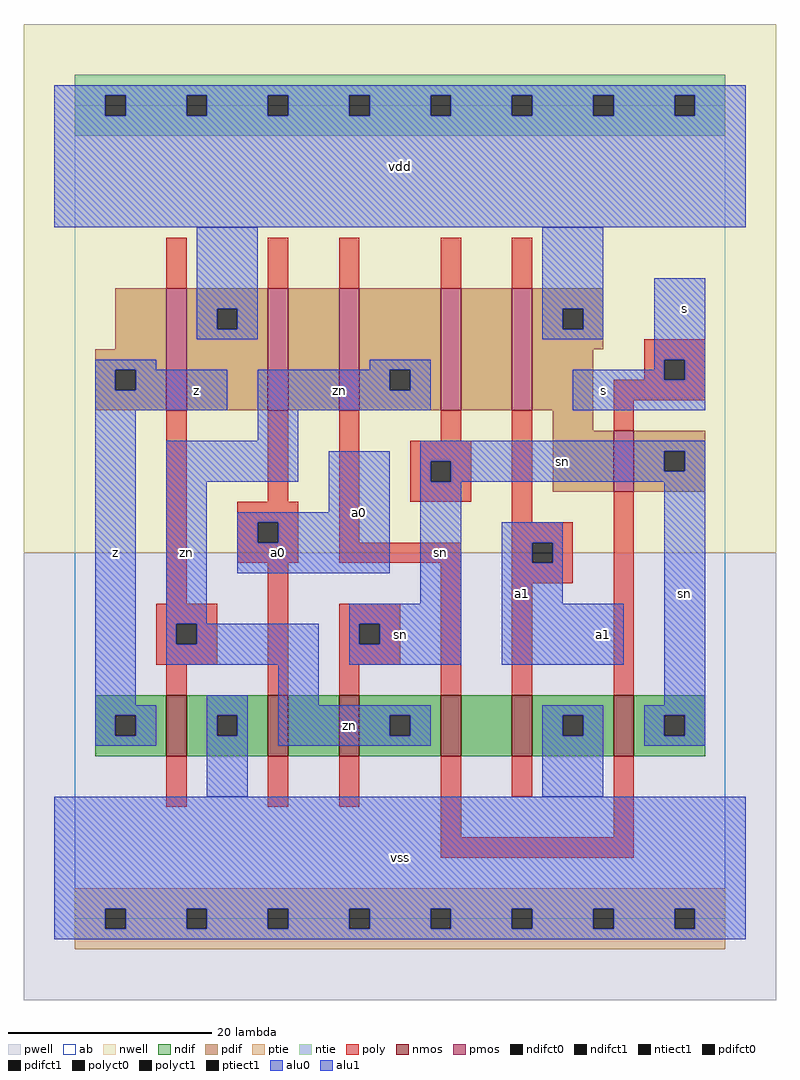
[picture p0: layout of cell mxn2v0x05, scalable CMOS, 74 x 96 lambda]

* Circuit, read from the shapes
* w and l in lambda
.subckt mxn2v0x05 a0 a1 s sn vdd vss z zn
M1 vss zn z vss nfet w=6 l=2
M2 n1 a0 vss vss nfet w=6 l=2
M3 zn sn n1 vss nfet w=6 l=2
M4 n2 s zn vss nfet w=6 l=2
M5 vss a1 n2 vss nfet w=6 l=2
M6 sn s vss vss nfet w=6 l=2
M7 vdd zn z vdd pfet w=12 l=2
M8 n3 a0 vdd vdd pfet w=12 l=2
M9 zn s n3 vdd pfet w=12 l=2
M10 n4 sn zn vdd pfet w=12 l=2
M11 vdd a1 n4 vdd pfet w=12 l=2
M12 sn s vdd vdd pfet w=6 l=2
.ends

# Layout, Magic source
magic
tech scmos
<< ab >>
rect 0 0 64 80
<< nwell >>
rect -5 36 69 88
<< pwell >>
rect -5 -8 69 36
<< poly >>
rect 9 62 11 67
rect 19 62 21 67
rect 26 62 28 67
rect 36 62 38 67
rect 43 62 45 67
rect 56 55 62 57
rect 56 53 58 55
rect 60 53 62 55
rect 9 31 11 50
rect 19 41 21 50
rect 16 39 22 41
rect 16 37 18 39
rect 20 37 22 39
rect 16 35 22 37
rect 26 37 28 50
rect 36 47 38 50
rect 33 45 39 47
rect 33 43 35 45
rect 37 43 39 45
rect 33 41 39 43
rect 43 39 45 50
rect 53 51 62 53
rect 53 48 55 51
rect 43 37 49 39
rect 26 35 38 37
rect 8 29 14 31
rect 8 27 10 29
rect 12 27 14 29
rect 8 25 14 27
rect 9 22 11 25
rect 19 22 21 35
rect 26 29 32 31
rect 26 27 28 29
rect 30 27 32 29
rect 26 25 32 27
rect 26 22 28 25
rect 36 22 38 35
rect 43 35 45 37
rect 47 35 49 37
rect 43 33 49 35
rect 43 22 45 33
rect 53 22 55 42
rect 9 11 11 16
rect 19 11 21 16
rect 26 11 28 16
rect 36 8 38 16
rect 43 12 45 16
rect 53 8 55 16
rect 36 6 55 8
<< ndif >>
rect 2 20 9 22
rect 2 18 4 20
rect 6 18 9 20
rect 2 16 9 18
rect 11 20 19 22
rect 11 18 14 20
rect 16 18 19 20
rect 11 16 19 18
rect 21 16 26 22
rect 28 20 36 22
rect 28 18 31 20
rect 33 18 36 20
rect 28 16 36 18
rect 38 16 43 22
rect 45 20 53 22
rect 45 18 48 20
rect 50 18 53 20
rect 45 16 53 18
rect 55 20 62 22
rect 55 18 58 20
rect 60 18 62 20
rect 55 16 62 18
<< pdif >>
rect 4 56 9 62
rect 2 54 9 56
rect 2 52 4 54
rect 6 52 9 54
rect 2 50 9 52
rect 11 60 19 62
rect 11 58 14 60
rect 16 58 19 60
rect 11 50 19 58
rect 21 50 26 62
rect 28 54 36 62
rect 28 52 31 54
rect 33 52 36 54
rect 28 50 36 52
rect 38 50 43 62
rect 45 60 52 62
rect 45 58 48 60
rect 50 58 52 60
rect 45 56 52 58
rect 45 50 51 56
rect 47 48 51 50
rect 47 42 53 48
rect 55 46 62 48
rect 55 44 58 46
rect 60 44 62 46
rect 55 42 62 44
<< alu1 >>
rect -2 81 66 82
rect -2 79 3 81
rect 5 79 11 81
rect 13 79 19 81
rect 21 79 27 81
rect 29 79 35 81
rect 37 79 43 81
rect 45 79 51 81
rect 53 79 59 81
rect 61 79 66 81
rect -2 68 66 79
rect 57 55 62 63
rect 2 54 8 55
rect 57 54 58 55
rect 2 52 4 54
rect 6 52 15 54
rect 2 50 15 52
rect 49 53 58 54
rect 60 53 62 55
rect 49 50 62 53
rect 2 21 6 50
rect 25 40 31 46
rect 16 39 31 40
rect 16 37 18 39
rect 20 37 31 39
rect 16 34 31 37
rect 42 37 48 39
rect 42 35 45 37
rect 47 35 48 37
rect 42 31 48 35
rect 42 25 54 31
rect 2 20 8 21
rect 2 18 4 20
rect 6 18 8 20
rect 2 17 8 18
rect -2 1 66 12
rect -2 -1 3 1
rect 5 -1 11 1
rect 13 -1 19 1
rect 21 -1 27 1
rect 29 -1 35 1
rect 37 -1 43 1
rect 45 -1 51 1
rect 53 -1 59 1
rect 61 -1 66 1
rect -2 -2 66 -1
<< ptie >>
rect 0 1 64 3
rect 0 -1 3 1
rect 5 -1 11 1
rect 13 -1 19 1
rect 21 -1 27 1
rect 29 -1 35 1
rect 37 -1 43 1
rect 45 -1 51 1
rect 53 -1 59 1
rect 61 -1 64 1
rect 0 -3 64 -1
<< ntie >>
rect 0 81 64 83
rect 0 79 3 81
rect 5 79 11 81
rect 13 79 19 81
rect 21 79 27 81
rect 29 79 35 81
rect 37 79 43 81
rect 45 79 51 81
rect 53 79 59 81
rect 61 79 64 81
rect 0 77 64 79
<< nmos >>
rect 9 16 11 22
rect 19 16 21 22
rect 26 16 28 22
rect 36 16 38 22
rect 43 16 45 22
rect 53 16 55 22
<< pmos >>
rect 9 50 11 62
rect 19 50 21 62
rect 26 50 28 62
rect 36 50 38 62
rect 43 50 45 62
rect 53 42 55 48
<< polyct0 >>
rect 35 43 37 45
rect 10 27 12 29
rect 28 27 30 29
<< polyct1 >>
rect 58 53 60 55
rect 18 37 20 39
rect 45 35 47 37
<< ndifct0 >>
rect 14 18 16 20
rect 31 18 33 20
rect 48 18 50 20
rect 58 18 60 20
<< ndifct1 >>
rect 4 18 6 20
<< ntiect1 >>
rect 3 79 5 81
rect 11 79 13 81
rect 19 79 21 81
rect 27 79 29 81
rect 35 79 37 81
rect 43 79 45 81
rect 51 79 53 81
rect 59 79 61 81
<< ptiect1 >>
rect 3 -1 5 1
rect 11 -1 13 1
rect 19 -1 21 1
rect 27 -1 29 1
rect 35 -1 37 1
rect 43 -1 45 1
rect 51 -1 53 1
rect 59 -1 61 1
<< pdifct0 >>
rect 14 58 16 60
rect 31 52 33 54
rect 48 58 50 60
rect 58 44 60 46
<< pdifct1 >>
rect 4 52 6 54
<< alu0 >>
rect 12 60 18 68
rect 12 58 14 60
rect 16 58 18 60
rect 12 57 18 58
rect 46 60 52 68
rect 46 58 48 60
rect 50 58 52 60
rect 46 57 52 58
rect 29 54 35 55
rect 18 52 31 54
rect 33 52 35 54
rect 18 50 35 52
rect 18 47 22 50
rect 9 43 22 47
rect 34 46 62 47
rect 9 29 13 43
rect 34 45 58 46
rect 34 43 35 45
rect 37 44 58 45
rect 60 44 62 46
rect 37 43 62 44
rect 34 31 38 43
rect 27 29 38 31
rect 9 27 10 29
rect 12 27 24 29
rect 9 25 24 27
rect 27 27 28 29
rect 30 27 38 29
rect 27 25 38 27
rect 13 20 17 22
rect 13 18 14 20
rect 16 18 17 20
rect 13 12 17 18
rect 20 21 24 25
rect 58 21 62 43
rect 20 20 35 21
rect 20 18 31 20
rect 33 18 35 20
rect 20 17 35 18
rect 46 20 52 21
rect 46 18 48 20
rect 50 18 52 20
rect 46 12 52 18
rect 56 20 62 21
rect 56 18 58 20
rect 60 18 62 20
rect 56 17 62 18
<< labels >>
rlabel alu0 11 36 11 36 6 zn
rlabel alu0 27 19 27 19 6 zn
rlabel alu0 32 28 32 28 6 sn
rlabel alu0 36 36 36 36 6 sn
rlabel alu0 26 52 26 52 6 zn
rlabel alu0 60 32 60 32 6 sn
rlabel alu0 48 45 48 45 6 sn
rlabel alu1 4 36 4 36 6 z
rlabel alu1 12 52 12 52 6 z
rlabel alu1 20 36 20 36 6 a0
rlabel alu1 28 40 28 40 6 a0
rlabel alu1 32 6 32 6 6 vss
rlabel alu1 44 32 44 32 6 a1
rlabel alu1 32 74 32 74 6 vdd
rlabel alu1 52 28 52 28 6 a1
rlabel alu1 52 52 52 52 6 s
rlabel alu1 60 60 60 60 6 s
<< end >>
